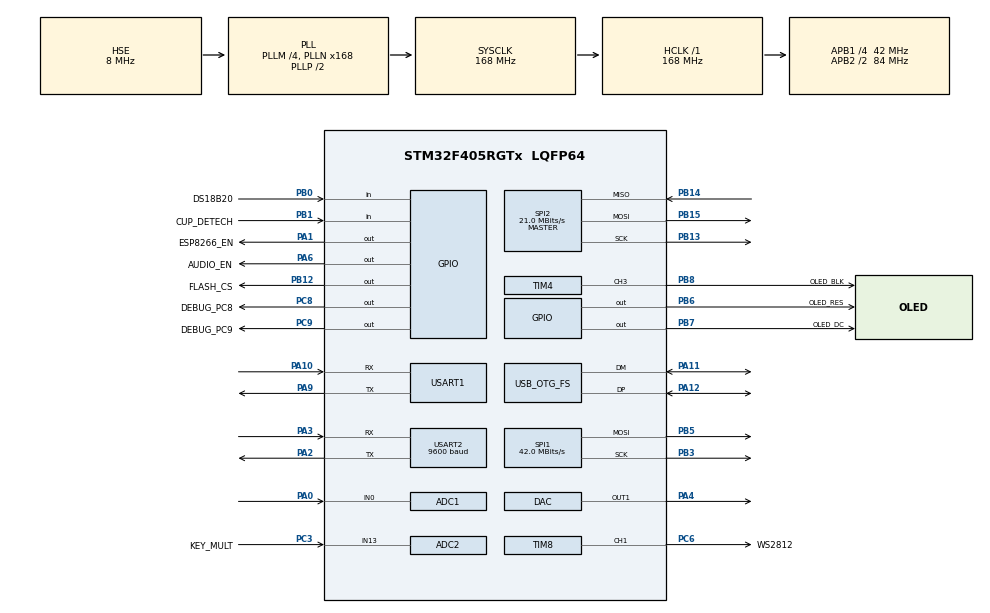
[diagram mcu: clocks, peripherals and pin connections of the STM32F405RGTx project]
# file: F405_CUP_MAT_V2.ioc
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ADC1.Channel-0\#ChannelRegularConversion=ADC_CHANNEL_0
ADC1.ClockPrescaler=ADC_CLOCK_SYNC_PCLK_DIV6
ADC1.ContinuousConvMode=ENABLE
ADC1.EOCSelection=ADC_EOC_SEQ_CONV
ADC1.NbrOfConversionFlag=1
ADC1.Rank-0\#ChannelRegularConversion=1
ADC1.SamplingTime-0\#ChannelRegularConversion=ADC_SAMPLETIME_144CYCLES
ADC1.ScanConvMode=ENABLE
ADC1.master=1
ADC2.Channel-0\#ChannelRegularConversion=ADC_CHANNEL_13
ADC2.ClockPrescaler=ADC_CLOCK_SYNC_PCLK_DIV6
ADC2.ContinuousConvMode=ENABLE
ADC2.EOCSelection=ADC_EOC_SEQ_CONV
ADC2.NbrOfConversionFlag=1
ADC2.Rank-0\#ChannelRegularConversion=1
ADC2.SamplingTime-0\#ChannelRegularConversion=ADC_SAMPLETIME_144CYCLES
ADC2.ScanConvMode=ENABLE
DAC.DAC_Trigger=DAC_TRIGGER_T7_TRGO
Dma.DAC1.4.Direction=DMA_MEMORY_TO_PERIPH
Dma.DAC1.4.FIFOMode=DMA_FIFOMODE_DISABLE
Dma.DAC1.4.Instance=DMA1_Stream5
Dma.DAC1.4.MemDataAlignment=DMA_MDATAALIGN_HALFWORD
Dma.DAC1.4.MemInc=DMA_MINC_ENABLE
Dma.DAC1.4.Mode=DMA_CIRCULAR
Dma.DAC1.4.PeriphDataAlignment=DMA_PDATAALIGN_HALFWORD
Dma.DAC1.4.PeriphInc=DMA_PINC_DISABLE
Dma.DAC1.4.Priority=DMA_PRIORITY_LOW
Dma.Request0=TIM8_CH1
Dma.Request1=SPI1_TX
Dma.Request2=SPI2_TX
Dma.Request3=SPI2_RX
Dma.Request4=DAC1
Dma.Request5=USART2_TX
Dma.SPI1_TX.1.Direction=DMA_MEMORY_TO_PERIPH
Dma.SPI1_TX.1.FIFOMode=DMA_FIFOMODE_DISABLE
Dma.SPI1_TX.1.Instance=DMA2_Stream3
Dma.SPI1_TX.1.MemDataAlignment=DMA_MDATAALIGN_HALFWORD
Dma.SPI1_TX.1.MemInc=DMA_MINC_ENABLE
Dma.SPI1_TX.1.Mode=DMA_NORMAL
Dma.SPI1_TX.1.PeriphDataAlignment=DMA_PDATAALIGN_HALFWORD
Dma.SPI1_TX.1.PeriphInc=DMA_PINC_DISABLE
Dma.SPI1_TX.1.Priority=DMA_PRIORITY_LOW
Dma.SPI2_RX.3.Direction=DMA_PERIPH_TO_MEMORY
Dma.SPI2_RX.3.FIFOMode=DMA_FIFOMODE_DISABLE
Dma.SPI2_RX.3.Instance=DMA1_Stream3
Dma.SPI2_RX.3.MemDataAlignment=DMA_MDATAALIGN_BYTE
Dma.SPI2_RX.3.MemInc=DMA_MINC_ENABLE
Dma.SPI2_RX.3.Mode=DMA_NORMAL
Dma.SPI2_RX.3.PeriphDataAlignment=DMA_PDATAALIGN_BYTE
Dma.SPI2_RX.3.PeriphInc=DMA_PINC_DISABLE
Dma.SPI2_RX.3.Priority=DMA_PRIORITY_LOW
Dma.SPI2_TX.2.Direction=DMA_MEMORY_TO_PERIPH
Dma.SPI2_TX.2.FIFOMode=DMA_FIFOMODE_DISABLE
Dma.SPI2_TX.2.Instance=DMA1_Stream4
Dma.SPI2_TX.2.MemDataAlignment=DMA_MDATAALIGN_BYTE
Dma.SPI2_TX.2.MemInc=DMA_MINC_ENABLE
Dma.SPI2_TX.2.Mode=DMA_NORMAL
Dma.SPI2_TX.2.PeriphDataAlignment=DMA_PDATAALIGN_BYTE
Dma.SPI2_TX.2.PeriphInc=DMA_PINC_DISABLE
Dma.SPI2_TX.2.Priority=DMA_PRIORITY_LOW
Dma.TIM8_CH1.0.Direction=DMA_MEMORY_TO_PERIPH
Dma.TIM8_CH1.0.FIFOMode=DMA_FIFOMODE_DISABLE
Dma.TIM8_CH1.0.Instance=DMA2_Stream2
Dma.TIM8_CH1.0.MemDataAlignment=DMA_MDATAALIGN_HALFWORD
Dma.TIM8_CH1.0.MemInc=DMA_MINC_ENABLE
Dma.TIM8_CH1.0.Mode=DMA_NORMAL
Dma.TIM8_CH1.0.PeriphDataAlignment=DMA_PDATAALIGN_HALFWORD
Dma.TIM8_CH1.0.PeriphInc=DMA_PINC_DISABLE
Dma.TIM8_CH1.0.Priority=DMA_PRIORITY_LOW
Dma.USART2_TX.5.Direction=DMA_MEMORY_TO_PERIPH
Dma.USART2_TX.5.FIFOMode=DMA_FIFOMODE_DISABLE
Dma.USART2_TX.5.Instance=DMA1_Stream6
Dma.USART2_TX.5.MemDataAlignment=DMA_MDATAALIGN_BYTE
Dma.USART2_TX.5.MemInc=DMA_MINC_ENABLE
Dma.USART2_TX.5.Mode=DMA_NORMAL
Dma.USART2_TX.5.PeriphDataAlignment=DMA_PDATAALIGN_BYTE
Dma.USART2_TX.5.PeriphInc=DMA_PINC_DISABLE
Dma.USART2_TX.5.Priority=DMA_PRIORITY_LOW
Mcu.Family=STM32F4
Mcu.Name=STM32F405RGTx
Mcu.Package=LQFP64
NVIC.DMA1_Stream3_IRQn=true\:10\:0\:true\:false\:true\:false\:true\:true
NVIC.DMA1_Stream4_IRQn=true\:10\:0\:true\:false\:true\:false\:true\:true
NVIC.DMA1_Stream5_IRQn=true\:5\:0\:true\:false\:true\:false\:true\:true
NVIC.DMA1_Stream6_IRQn=true\:0\:0\:false\:false\:true\:false\:true\:true
NVIC.DMA2_Stream2_IRQn=true\:15\:0\:true\:false\:true\:false\:true\:true
NVIC.DMA2_Stream3_IRQn=true\:0\:0\:false\:false\:true\:false\:true\:true
NVIC.OTG_FS_IRQn=true\:11\:0\:true\:false\:true\:false\:true\:true
NVIC.PriorityGroup=NVIC_PRIORITYGROUP_4
NVIC.SPI2_IRQn=true\:9\:0\:true\:false\:true\:true\:true\:true
NVIC.TIM8_UP_TIM13_IRQn=true\:15\:0\:false\:false\:true\:false\:true\:true
NVIC.TimeBase=TIM8_UP_TIM13_IRQn
NVIC.TimeBaseIP=TIM13
NVIC.USART2_IRQn=true\:7\:0\:true\:false\:true\:true\:true\:true
PA0-WKUP.Signal=ADCx_IN0
PA1.GPIO_Label=ESP8266_EN
PA1.Signal=GPIO_Output
PA10.Mode=Asynchronous
PA10.Signal=USART1_RX
PA11.Mode=Device_Only
PA11.Signal=USB_OTG_FS_DM
PA12.Mode=Device_Only
PA12.Signal=USB_OTG_FS_DP
PA13.Mode=Serial_Wire
PA13.Signal=SYS_JTMS-SWDIO
PA14.Mode=Serial_Wire
PA14.Signal=SYS_JTCK-SWCLK
PA2.Mode=Asynchronous
PA2.Signal=USART2_TX
PA3.Mode=Asynchronous
PA3.Signal=USART2_RX
PA4.Signal=COMP_DAC1_group
PA6.GPIO_Label=AUDIO_EN
PA6.PinState=GPIO_PIN_RESET
PA6.Signal=GPIO_Output
PA9.Mode=Asynchronous
PA9.Signal=USART1_TX
PB0.GPIO_Label=DS18B20
PB0.GPIO_PuPd=GPIO_NOPULL
PB0.Signal=GPIO_Input
PB1.GPIO_Label=CUP_DETECH
PB1.GPIO_PuPd=GPIO_PULLUP
PB1.Signal=GPIO_Input
PB12.GPIO_Label=FLASH_CS
PB12.GPIO_Speed=GPIO_SPEED_FREQ_VERY_HIGH
PB12.PinState=GPIO_PIN_SET
PB12.Signal=GPIO_Output
PB13.Mode=Full_Duplex_Master
PB13.Signal=SPI2_SCK
PB14.Mode=Full_Duplex_Master
PB14.Signal=SPI2_MISO
PB15.Mode=Full_Duplex_Master
PB15.Signal=SPI2_MOSI
PB3.Mode=TX_Only_Simplex_Unidirect_Master
PB3.Signal=SPI1_SCK
PB5.Mode=TX_Only_Simplex_Unidirect_Master
PB5.Signal=SPI1_MOSI
PB6.GPIO_Label=OLED_RES
PB6.Signal=GPIO_Output
PB7.GPIO_Label=OLED_DC
PB7.Signal=GPIO_Output
PB8.GPIO_Label=OLED_BLK
PB8.Signal=S_TIM4_CH3
PC3.GPIO_Label=KEY_MULT
PC3.Signal=ADCx_IN13
PC6.GPIO_Label=WS2812
PC6.Signal=S_TIM8_CH1
PC8.GPIO_Label=DEBUG_PC8
PC8.Signal=GPIO_Output
PC9.GPIO_Label=DEBUG_PC9
PC9.Signal=GPIO_Output
PH0-OSC_IN.Mode=HSE-External-Oscillator
PH0-OSC_IN.Signal=RCC_OSC_IN
PH1-OSC_OUT.Mode=HSE-External-Oscillator
PH1-OSC_OUT.Signal=RCC_OSC_OUT
ProjectManager.HeapSize=0x1000
ProjectManager.StackSize=0x1000
ProjectManager.TargetToolchain=MDK-ARM V5.32
RCC.48MHZClocksFreq_Value=48000000
RCC.AHBFreq_Value=168000000
RCC.APB1CLKDivider=RCC_HCLK_DIV4
RCC.APB1Freq_Value=42000000
RCC.APB1TimFreq_Value=84000000
RCC.APB2CLKDivider=RCC_HCLK_DIV2
RCC.APB2Freq_Value=84000000
RCC.APB2TimFreq_Value=168000000
RCC.CortexFreq_Value=168000000
RCC.HCLKFreq_Value=168000000
RCC.HSE_VALUE=8000000
RCC.HSI_VALUE=16000000
RCC.LSE_VALUE=32768
RCC.PLLM=4
RCC.PLLN=168
RCC.PLLQ=7
RCC.RCC_RTC_Clock_SourceVirtual=RCC_RTCCLKSOURCE_HSE_DIV25
RCC.RCC_RTC_Clock_Source_FROM_HSE=RCC_RTCCLKSOURCE_HSE_DIV25
RCC.SYSCLKFreq_VALUE=168000000
RCC.SYSCLKSource=RCC_SYSCLKSOURCE_PLLCLK
RCC.VCOOutputFreq_Value=336000000
RTC.SynchPrediv=2499
SH.ADCx_IN0.0=ADC1_IN0,IN0
SH.ADCx_IN13.0=ADC2_IN13,IN13
SH.COMP_DAC1_group.0=DAC_OUT1,DAC_OUT1
SH.S_TIM4_CH3.0=TIM4_CH3,PWM Generation3 CH3
SH.S_TIM8_CH1.0=TIM8_CH1,PWM Generation1 CH1
SPI1.CLKPhase=SPI_PHASE_2EDGE
SPI1.CLKPolarity=SPI_POLARITY_HIGH
SPI1.CalculateBaudRate=42.0 MBits/s
SPI1.Direction=SPI_DIRECTION_2LINES
SPI1.Mode=SPI_MODE_MASTER
SPI1.VirtualType=VM_MASTER
SPI2.CalculateBaudRate=21.0 MBits/s
SPI2.Direction=SPI_DIRECTION_2LINES
SPI2.Mode=SPI_MODE_MASTER
SPI2.VirtualType=VM_MASTER
TIM4.Channel-PWM\ Generation3\ CH3=TIM_CHANNEL_3
TIM4.Period=100-1
TIM4.Prescaler=210-1
TIM7.Period=125-1
TIM7.Prescaler=84-1
TIM7.TIM_MasterOutputTrigger=TIM_TRGO_UPDATE
TIM8.Channel-PWM\ Generation1\ CH1=TIM_CHANNEL_1
TIM8.Period=168-1
TIM8.Prescaler=1-1
USART1.VirtualMode=VM_ASYNC
USART2.BaudRate=9600
USART2.VirtualMode=VM_ASYNC
USB_DEVICE.CLASS_NAME_FS=MSC
USB_DEVICE.MSC_MEDIA_PACKET-MSC_FS=4096
USB_DEVICE.VirtualMode-MSC_FS=Msc
USB_DEVICE.VirtualModeFS=Msc_FS
USB_OTG_FS.VirtualMode=Device_Only
VP_RTC_VS_RTC_Activate.Mode=RTC_Enabled
VP_RTC_VS_RTC_Calendar.Mode=RTC_Calendar
VP_SYS_VS_tim13.Mode=TIM13
VP_TIM14_VS_ClockSourceINT.Mode=Enable_Timer
VP_TIM4_VS_ClockSourceINT.Mode=Internal
VP_TIM7_VS_ClockSourceINT.Mode=Enable_Timer
VP_TIM8_VS_ClockSourceINT.Mode=Internal
VP_USB_DEVICE_VS_USB_DEVICE_MSC_FS.Mode=MSC_FS
board=custom

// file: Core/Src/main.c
/* USER CODE BEGIN Header */
/**
  ******************************************************************************
  * @file           : main.c
  * @brief          : Main program body
  ******************************************************************************
  * @attention
  *
  * Copyright (c) 2025 STMicroelectronics.
  * All rights reserved.
  *
  * This software is licensed under terms that can be found in the LICENSE file
  * in the root directory of this software component.
  * If no LICENSE file comes with this software, it is provided AS-IS.
  *
  ******************************************************************************
  */
/* USER CODE END Header */
#include "main.h"
#include "adc.h"
#include "dac.h"
#include "dma.h"
#include "rtc.h"
#include "spi.h"
#include "tim.h"
#include "usart.h"
#include "usb_device.h"
#include "gpio.h"

/* USER CODE BEGIN Includes */
#include "spi_flash.h"
#include "ws2812.h"

#include "FatFsSelfTest.h"
#include "stm_system_io.h"
#include "lime_bootloader.h"
#include "stm_system_io.h"
/* USER CODE END Includes */

void SystemClock_Config(void);

/* USER CODE BEGIN 0 */
uint32_t nvic_vector_tab[256] __attribute__((section(".bss.ARM.__at_0x20010000"))) ;
/* USER CODE END 0 */

int main(void)
{

  /* USER CODE BEGIN 1 */
//  __disable_irq();
//  uint32_t *nvic_tab_default = (uint32_t*)0x08000000;
//  for(uint32_t i = 0; i < 256; i++)
//  {
//	  nvic_vector_tab[i] = nvic_tab_default[i];
//  }
//  SCB->VTOR = (uint32_t)nvic_vector_tab;
//  __enable_irq();
  /* USER CODE END 1 */

  /* MCU Configuration--------------------------------------------------------*/

  /* Reset of all peripherals, Initializes the Flash interface and the Systick. */
  HAL_Init();

  /* Configure the system clock */
  SystemClock_Config();

  /* Initialize all configured peripherals */
  MX_GPIO_Init();
  MX_DMA_Init();
  MX_ADC1_Init();
  MX_DAC_Init();
  MX_TIM8_Init();
  MX_USART1_UART_Init();
  MX_USART2_UART_Init();
  MX_SPI1_Init();
  MX_SPI2_Init();
  MX_TIM4_Init();
  MX_ADC2_Init();
  MX_TIM7_Init();
  MX_TIM14_Init();
//  MX_USB_DEVICE_Init();
  MX_RTC_Init();
  /* USER CODE BEGIN 2 */
  DEBUG_LOG(">>>CUP_MAT Bootloader Start!\n");
  DEBUG_LOG(">>>Compile Time:%s,%s\n", __DATE__, __TIME__);

  /* turn off all light */
  ws2812_Init();
  WS2812_Sync();
  HAL_Delay(10);

  /* confirm bin file */
  lime_boot_status_e boot_status = lime_detech_new_app();
  switch(boot_status)
  {
	case lime_boot_status_no_file_system:
	{
		/* confirm flash signature status */
		if(lime_confirm_flash_signature() != HAL_OK)
		{
			DEBUG_LOG(">>>Confirm internal app, Failed\n");

			/* new device, try to create file system */
			if(lime_re_create_filesystem() != HAL_OK)
			{
				DEBUG_LOG(">>>Create File System, Failed\n");

				goto errend;
			}

			/* create success, open USB mode */
			lime_stm_system_enter_u_disk_mode();

			/* then, do nothing */
			while(1)
				;
		}
		DEBUG_LOG(">>>Confirm internal app, Success\n");

		/* has internal app, run it */
		goto run_app;
	}
	break;

	case lime_boot_status_has_new_app:
	{
		DEBUG_LOG(">>>FatFs has new app\n");

		if(lime_confirm_fatfs_app() != HAL_OK)
		{
			DEBUG_LOG(">>>Confirm FatFs New App Failed\n");

			goto run_app;
		}
		DEBUG_LOG(">>>Confirm FatFs New App Success\n");

		/* yellow light, means update */
		WS2812_SetRGB(0, 15, 13, 0);
		WS2812_Sync();
		HAL_Delay(10);

		/* copy app from FatFs to Flash */
		if(lime_copy_app() != HAL_OK)
		{
			DEBUG_LOG(">>>Copy failed\n");

			goto errend;
		}
		DEBUG_LOG(">>>Copy New App Success\n");

		/* re-confirm */
		if(lime_confirm_flash_app(0x08010000) != HAL_OK)
		{
			DEBUG_LOG(">>>Confirm FatFs New App Failed\n");

			goto errend;
		}
		DEBUG_LOG(">>>Confirm FatFs New App Success\n");

		/* del FatFs app */
		if(lime_del_fatfs_app() != HAL_OK)
		{
			DEBUG_LOG(">>>Del update.bin Failed\n");
		}
		DEBUG_LOG(">>>Del update.bin Success\n");
	}
	break;

	case lime_boot_status_no_need_update:
	{
		DEBUG_LOG(">>>No update.bin, no need update\n");

		/* confirm flash signature status */
		if(lime_confirm_flash_signature() != HAL_OK)
		{
			DEBUG_LOG(">>>Confirm now app, Failed\n");

			goto errend;
		}
		DEBUG_LOG(">>>Confirm now app, Success\n");

		goto run_app;
	}
	break;
	default:break;
  }

run_app:
  /* green light, means app check pass */
  WS2812_SetRGB(0, 0, 13, 0);
  WS2812_Sync();
  HAL_Delay(10);

  /* jump to application */
  lime_jump_app(0x08010000);

  while(1)
	  ;

errend:
  DEBUG_LOG(">>>error occurred, try to re-init file system and enter u-disk mode\n");

  WS2812_SetRGB(0, 15, 0, 0);
  WS2812_Sync();
  HAL_Delay(10);

  /* try to re-create filesystem */
  if(lime_re_create_filesystem() != HAL_OK)
  {
	  DEBUG_LOG(">>>re-create filesystem error\n");

	  while(1)
		  ;
  }
  DEBUG_LOG(">>>re-create filesystem success\n");

  /* enter u-disk mode */
  lime_stm_system_enter_u_disk_mode();

  while(1)
	  ;

  /* USER CODE END 2 */

  /* Infinite loop */
  while (1)
  {

  }
}

void SystemClock_Config(void)
{
  RCC_OscInitTypeDef RCC_OscInitStruct = {0};
  RCC_ClkInitTypeDef RCC_ClkInitStruct = {0};

  /** Configure the main internal regulator output voltage
  */
  __HAL_RCC_PWR_CLK_ENABLE();
  __HAL_PWR_VOLTAGESCALING_CONFIG(PWR_REGULATOR_VOLTAGE_SCALE1);

  /** Initializes the RCC Oscillators according to the specified parameters
  * in the RCC_OscInitTypeDef structure.
  */
  RCC_OscInitStruct.OscillatorType = RCC_OSCILLATORTYPE_HSE;
  RCC_OscInitStruct.HSEState = RCC_HSE_ON;
  RCC_OscInitStruct.PLL.PLLState = RCC_PLL_ON;
  RCC_OscInitStruct.PLL.PLLSource = RCC_PLLSOURCE_HSE;
  RCC_OscInitStruct.PLL.PLLM = 4;
  RCC_OscInitStruct.PLL.PLLN = 168;
  RCC_OscInitStruct.PLL.PLLP = RCC_PLLP_DIV2;
  RCC_OscInitStruct.PLL.PLLQ = 7;
  if (HAL_RCC_OscConfig(&RCC_OscInitStruct) != HAL_OK)
  {
    Error_Handler();
  }

  /** Initializes the CPU, AHB and APB buses clocks
  */
  RCC_ClkInitStruct.ClockType = RCC_CLOCKTYPE_HCLK|RCC_CLOCKTYPE_SYSCLK
                              |RCC_CLOCKTYPE_PCLK1|RCC_CLOCKTYPE_PCLK2;
  RCC_ClkInitStruct.SYSCLKSource = RCC_SYSCLKSOURCE_PLLCLK;
  RCC_ClkInitStruct.AHBCLKDivider = RCC_SYSCLK_DIV1;
  RCC_ClkInitStruct.APB1CLKDivider = RCC_HCLK_DIV4;
  RCC_ClkInitStruct.APB2CLKDivider = RCC_HCLK_DIV2;

  if (HAL_RCC_ClockConfig(&RCC_ClkInitStruct, FLASH_LATENCY_5) != HAL_OK)
  {
    Error_Handler();
  }
}

void HAL_TIM_PeriodElapsedCallback(TIM_HandleTypeDef *htim)
{
  if (htim->Instance == TIM13) {
    HAL_IncTick();
  }
}

void Error_Handler(void)
{
  /* USER CODE BEGIN Error_Handler_Debug */
	DEBUG_LOG("\n%s()\n", __FUNCTION__);
  /* User can add his own implementation to report the HAL error return state */
  __disable_irq();
  while (1)
  {
  }
  /* USER CODE END Error_Handler_Debug */
}
